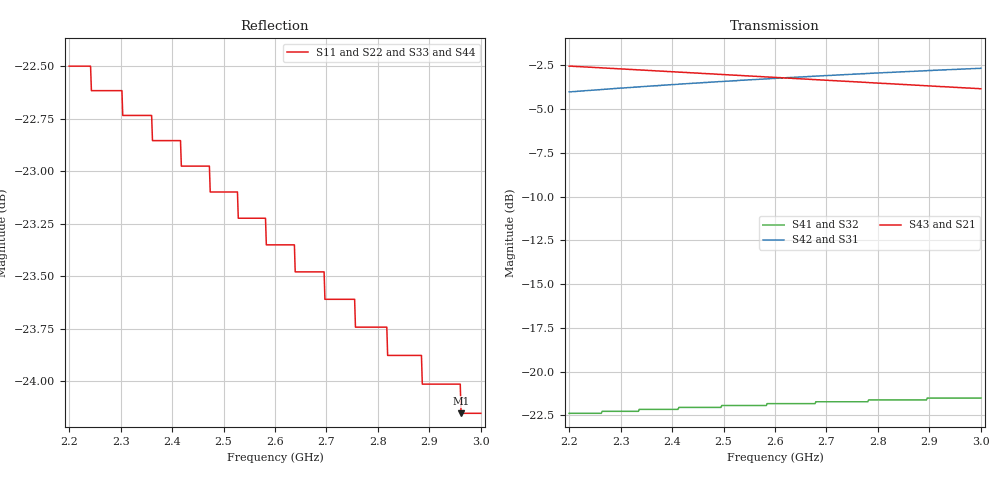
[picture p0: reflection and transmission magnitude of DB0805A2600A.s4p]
!	AVX THIN FILM OPERATION
!	0805 SIZE 3dB 90deg COUPLER P/N DB0805A2600ASTR
!	Created September 2010
!	Network	Analyzer	HP8720E	S.07.64:	"Feb23,2000"	Serial	No.US39172382
# MHZ S MA  R 50
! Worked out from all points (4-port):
!   500 points, 2.2 GHz to 3 GHz, reference 50 ohm
!   strongest paths, dB at 2.2 GHz, 2.4 GHz, 2.601 GHz, 2.801 GHz, 3 GHz:
!     S43: -2.5, -2.9, -3.2, -3.5, -3.8
!     S21: -2.5, -2.9, -3.2, -3.5, -3.8
!     S42: -4.0, -3.6, -3.2, -2.9, -2.7
!     S31: -4.0, -3.6, -3.2, -2.9, -2.7
!     S41: -22.4, -22.2, -21.8, -21.6, -21.5
!     S32: -22.4, -22.2, -21.8, -21.6, -21.5
!   lowest |S11| = -24.2 dB at 2.962 GHz (marker M1), VSWR 1.13, Z = 45.9 - j4.28 ohm
!   |S11| at or under -10 dB: start of sweep to end of sweep
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2200  0.075 -138.7  0.746 -45.6  0.63 44.1  0.076 -31.8
      0.746 -45.6  0.075 -138.7  0.076 -31.8  0.63 44.1
      0.63 44.1  0.076 -31.8  0.075 -138.7  0.746 -45.6
      0.076 -31.8  0.63 44.1  0.746 -45.6  0.075 -138.7
2575.15  0.069 -137.8  0.696 -51.0  0.685 38.8  0.08 -46.4
         0.696 -51.0  0.069 -137.8  0.08 -46.4  0.685 38.8
         0.685 38.8  0.08 -46.4  0.069 -137.8  0.696 -51.0
         0.08 -46.4  0.685 38.8  0.696 -51.0  0.069 -137.8
2642.485  0.067 -137.1  0.687 -51.9  0.694 38.0  0.081 -48.9
          0.687 -51.9  0.067 -137.1  0.081 -48.9  0.694 38.0
          0.694 38.0  0.081 -48.9  0.067 -137.1  0.687 -51.9
          0.081 -48.9  0.694 38.0  0.687 -51.9  0.067 -137.1
2692.184  0.067 -136.5  0.681 -52.6  0.7 37.3  0.082 -50.7
          0.681 -52.6  0.067 -136.5  0.082 -50.7  0.7 37.3
          0.7 37.3  0.082 -50.7  0.067 -136.5  0.681 -52.6
          0.082 -50.7  0.7 37.3  0.681 -52.6  0.067 -136.5
2700.2  0.066 -136.4  0.68 -52.7  0.701 37.2  0.082 -50.9
        0.68 -52.7  0.066 -136.4  0.082 -50.9  0.701 37.2
        0.701 37.2  0.082 -50.9  0.066 -136.4  0.68 -52.7
        0.082 -50.9  0.701 37.2  0.68 -52.7  0.066 -136.4
2961.523  0.062 -131.5  0.648 -56.1  0.732 34.1  0.084 -59.9
          0.648 -56.1  0.062 -131.5  0.084 -59.9  0.732 34.1
          0.732 34.1  0.084 -59.9  0.062 -131.5  0.648 -56.1
          0.084 -59.9  0.732 34.1  0.648 -56.1  0.062 -131.5
3000  0.062 -130.6  0.643 -56.5  0.736 33.6  0.084 -61.1
      0.643 -56.5  0.062 -130.6  0.084 -61.1  0.736 33.6
      0.736 33.6  0.084 -61.1  0.062 -130.6  0.643 -56.5
      0.084 -61.1  0.736 33.6  0.643 -56.5  0.062 -130.6
